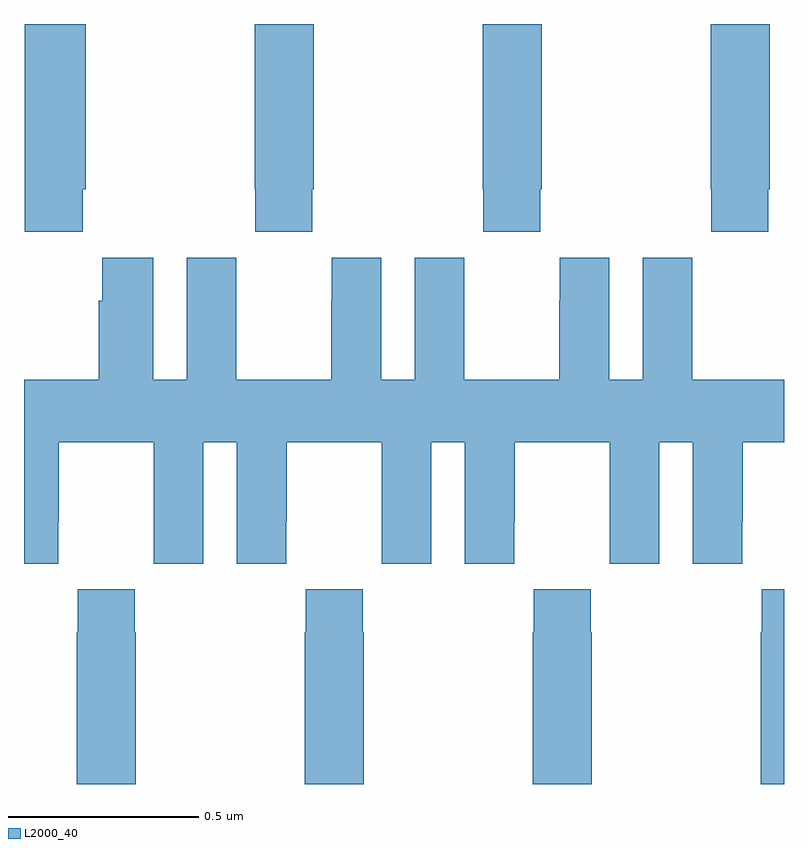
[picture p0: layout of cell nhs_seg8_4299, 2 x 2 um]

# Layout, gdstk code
import gdstk
lib = gdstk.Library(unit=1e-6, precision=1e-09)
def P(c, l, *ps):  # polygons
    for p in ps: c.add(gdstk.Polygon(p, *l))
L2000_40 = (2000, 40)

nhs_seg8_4299 = lib.new_cell('nhs_seg8_4299')
P(nhs_seg8_4299, L2000_40, [(169.959,1150.465),(169.962,1150.465),(169.962,1150.9),(169.807,1150.9),(169.807,1150.465),(169.809,1150.465),(169.809,1150.353),(169.959,1150.353)],
  [(169.207,1150.465),(169.209,1150.465),(169.209,1150.353),(169.359,1150.353),(169.359,1150.465),(169.362,1150.465),(169.362,1150.9),(169.207,1150.9)],
  [(168.155,1150.465),(168.162,1150.465),(168.162,1150.9),(168.002,1150.9),(168.002,1150.353),(168.155,1150.353)],
  [(168.759,1150.465),(168.762,1150.465),(168.762,1150.9),(168.607,1150.9),(168.607,1150.465),(168.609,1150.465),(168.609,1150.353),(168.759,1150.353)],
  [(168.09,1149.592),(168.091,1149.592),(168.091,1149.8),(168.341,1149.8),(168.341,1149.592),(168.342,1149.592),(168.342,1149.48),(168.472,1149.48),(168.472,1149.8),(168.56,1149.8),(168.56,1149.48),(168.69,1149.48),(168.69,1149.592),(168.691,1149.592),(168.691,1149.8),(168.941,1149.8),(168.941,1149.592),(168.942,1149.592),(168.942,1149.48),(169.072,1149.48),(169.072,1149.8),(169.16,1149.8),(169.16,1149.48),(169.29,1149.48),(169.29,1149.592),(169.291,1149.592),(169.291,1149.8),(169.541,1149.8),(169.541,1149.592),(169.542,1149.592),(169.542,1149.48),(169.672,1149.48),(169.672,1149.8),(169.76,1149.8),(169.76,1149.48),(169.89,1149.48),(169.89,1149.592),(169.891,1149.592),(169.891,1149.8),(170,1149.8),(170,1149.964),(169.759,1149.964),(169.759,1150.172),(169.758,1150.172),(169.758,1150.285),(169.628,1150.285),(169.628,1149.964),(169.54,1149.964),(169.54,1150.285),(169.41,1150.285),(169.41,1150.172),(169.409,1150.172),(169.409,1149.964),(169.159,1149.964),(169.159,1150.172),(169.158,1150.172),(169.158,1150.285),(169.028,1150.285),(169.028,1149.964),(168.94,1149.964),(168.94,1150.285),(168.81,1150.285),(168.81,1150.172),(168.809,1150.172),(168.809,1149.964),(168.559,1149.964),(168.559,1150.172),(168.558,1150.172),(168.558,1150.285),(168.428,1150.285),(168.428,1149.964),(168.34,1149.964),(168.34,1150.285),(168.206,1150.285),(168.206,1150.172),(168.197,1150.172),(168.197,1149.964),(168,1149.964),(168,1149.48),(168.09,1149.48)],
  [(169.494,1149.299),(169.491,1149.299),(169.491,1149.412),(169.341,1149.412),(169.341,1149.299),(169.339,1149.299),(169.339,1148.9),(169.494,1148.9)],
  [(168.294,1149.299),(168.291,1149.299),(168.291,1149.412),(168.141,1149.412),(168.141,1149.299),(168.139,1149.299),(168.139,1148.9),(168.294,1148.9)],
  [(170,1149.412),(169.941,1149.412),(169.941,1149.299),(169.939,1149.299),(169.939,1148.9),(170,1148.9)],
  [(168.741,1149.412),(168.741,1149.299),(168.739,1149.299),(168.739,1148.9),(168.894,1148.9),(168.894,1149.299),(168.891,1149.299),(168.891,1149.412)])

lib.write_gds('nhs_seg8_4299.gds')
